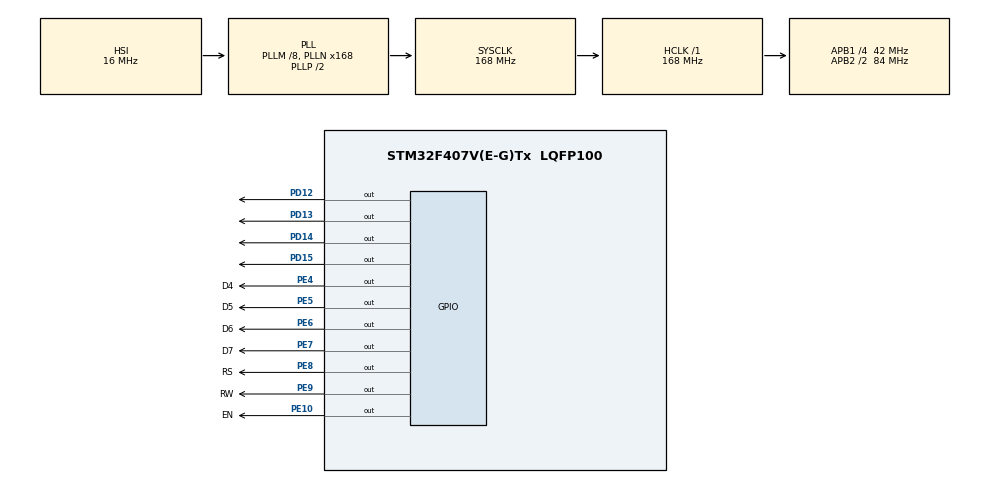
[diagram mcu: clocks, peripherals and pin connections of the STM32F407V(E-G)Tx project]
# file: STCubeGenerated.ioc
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Mcu.Family=STM32F4
Mcu.Name=STM32F407V(E-G)Tx
Mcu.Package=LQFP100
NVIC.PriorityGroup=NVIC_PRIORITYGROUP_4
PD12.Signal=GPIO_Output
PD13.Signal=GPIO_Output
PD14.Signal=GPIO_Output
PD15.Signal=GPIO_Output
PE10.GPIO_Label=EN
PE10.GPIO_ModeDefaultOutputPP=GPIO_MODE_OUTPUT_PP
PE10.GPIO_PuPd=GPIO_NOPULL
PE10.Signal=GPIO_Output
PE4.GPIO_Label=D4
PE4.GPIO_ModeDefaultOutputPP=GPIO_MODE_OUTPUT_PP
PE4.GPIO_PuPd=GPIO_NOPULL
PE4.Signal=GPIO_Output
PE5.GPIO_Label=D5
PE5.GPIO_ModeDefaultOutputPP=GPIO_MODE_OUTPUT_PP
PE5.GPIO_PuPd=GPIO_NOPULL
PE5.Signal=GPIO_Output
PE6.GPIO_Label=D6
PE6.GPIO_ModeDefaultOutputPP=GPIO_MODE_OUTPUT_PP
PE6.GPIO_PuPd=GPIO_NOPULL
PE6.Signal=GPIO_Output
PE7.GPIO_Label=D7
PE7.GPIO_ModeDefaultOutputPP=GPIO_MODE_OUTPUT_PP
PE7.GPIO_PuPd=GPIO_NOPULL
PE7.Signal=GPIO_Output
PE8.GPIO_Label=RS
PE8.GPIO_ModeDefaultOutputPP=GPIO_MODE_OUTPUT_PP
PE8.GPIO_PuPd=GPIO_NOPULL
PE8.Signal=GPIO_Output
PE9.GPIO_Label=RW
PE9.GPIO_ModeDefaultOutputPP=GPIO_MODE_OUTPUT_PP
PE9.GPIO_PuPd=GPIO_NOPULL
PE9.Signal=GPIO_Output
PH0-OSC_IN.Mode=HSE-External-Oscillator
PH0-OSC_IN.Signal=RCC_OSC_IN
PH1-OSC_OUT.Mode=HSE-External-Oscillator
PH1-OSC_OUT.Signal=RCC_OSC_OUT
ProjectManager.HeapSize=0x200
ProjectManager.StackSize=0x400
ProjectManager.TargetToolchain=MDK-ARM V5
RCC.48MHZClocksFreq_Value=84000000
RCC.AHBFreq_Value=168000000
RCC.APB1CLKDivider=RCC_HCLK_DIV4
RCC.APB1Freq_Value=42000000
RCC.APB1TimFreq_Value=84000000
RCC.APB2CLKDivider=RCC_HCLK_DIV2
RCC.APB2Freq_Value=84000000
RCC.APB2TimFreq_Value=168000000
RCC.CortexFreq_Value=168000000
RCC.HCLKFreq_Value=168000000
RCC.HSE_VALUE=8000000
RCC.HSI_VALUE=16000000
RCC.LSE_VALUE=32768
RCC.PLLM=8
RCC.PLLN=168
RCC.SYSCLKFreq_VALUE=168000000
RCC.SYSCLKSource=RCC_SYSCLKSOURCE_PLLCLK
RCC.VCOOutputFreq_Value=336000000
board=custom

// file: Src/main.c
/* USER CODE BEGIN Header */
/**
  ******************************************************************************
  * @file           : main.c
  * @brief          : Main program body
  ******************************************************************************
  * @attention
  *
  * Copyright (c) 2023 STMicroelectronics.
  * All rights reserved.
  *
  * This software is licensed under terms that can be found in the LICENSE file
  * in the root directory of this software component.
  * If no LICENSE file comes with this software, it is provided AS-IS.
  *
  ******************************************************************************
  */
/* USER CODE END Header */
#include "main.h"

/* USER CODE BEGIN Includes */
#include "lcd.h"
#include "stdio.h"

/* USER CODE END Includes */

void SystemClock_Config(void);
static void MX_GPIO_Init(void);

int main(void)
{

  /* MCU Configuration--------------------------------------------------------*/

  /* Reset of all peripherals, Initializes the Flash interface and the Systick. */
  HAL_Init();

  /* Configure the system clock */
  SystemClock_Config();

  /* Initialize all configured peripherals */
  MX_GPIO_Init();
  /* USER CODE BEGIN 2 */

	// lcd_init
	HAL_GPIO_WritePin(RW_GPIO_Port, RW_Pin, 0);
	Lcd_PortType ports[] = { D4_GPIO_Port, D5_GPIO_Port, D6_GPIO_Port, D7_GPIO_Port };
	Lcd_PinType pins[] = {D4_Pin, D5_Pin, D6_Pin, D7_Pin};
	Lcd_HandleTypeDef lcd;
	lcd = Lcd_create(ports, pins, RS_GPIO_Port, RS_Pin, EN_GPIO_Port, EN_Pin, LCD_4_BIT_MODE);

	// write something and wait 3sec
	Lcd_string(&lcd, "BANU Embedded Sys.");
	Lcd_cursor(&lcd, 1,6);
	Lcd_int(&lcd, 2023);
	HAL_Delay(3000);

  /* USER CODE END 2 */

  /* Infinite loop */
  /* USER CODE BEGIN WHILE */

	char str[16];
	int a=60;

  while (1)
  {

		HAL_GPIO_TogglePin(GPIOD, GPIO_PIN_15);
		HAL_Delay(500);

		Lcd_clear(&lcd);
		snprintf(str, 16, "xxx= %d", a);
		Lcd_string(&lcd, str);
		a=-27.;
		Lcd_cursor(&lcd, 1,0);
		snprintf(str, 16, "3x9= %d", a);
		Lcd_string(&lcd, str);

    /* USER CODE END WHILE */

  }
}

void SystemClock_Config(void)
{
  RCC_OscInitTypeDef RCC_OscInitStruct = {0};
  RCC_ClkInitTypeDef RCC_ClkInitStruct = {0};

  /** Configure the main internal regulator output voltage
  */
  __HAL_RCC_PWR_CLK_ENABLE();
  __HAL_PWR_VOLTAGESCALING_CONFIG(PWR_REGULATOR_VOLTAGE_SCALE1);

  /** Initializes the RCC Oscillators according to the specified parameters
  * in the RCC_OscInitTypeDef structure.
  */
  RCC_OscInitStruct.OscillatorType = RCC_OSCILLATORTYPE_HSI;
  RCC_OscInitStruct.HSIState = RCC_HSI_ON;
  RCC_OscInitStruct.HSICalibrationValue = RCC_HSICALIBRATION_DEFAULT;
  RCC_OscInitStruct.PLL.PLLState = RCC_PLL_ON;
  RCC_OscInitStruct.PLL.PLLSource = RCC_PLLSOURCE_HSI;
  RCC_OscInitStruct.PLL.PLLM = 8;
  RCC_OscInitStruct.PLL.PLLN = 168;
  RCC_OscInitStruct.PLL.PLLP = RCC_PLLP_DIV2;
  RCC_OscInitStruct.PLL.PLLQ = 4;
  if (HAL_RCC_OscConfig(&RCC_OscInitStruct) != HAL_OK)
  {
    Error_Handler();
  }

  /** Initializes the CPU, AHB and APB buses clocks
  */
  RCC_ClkInitStruct.ClockType = RCC_CLOCKTYPE_HCLK|RCC_CLOCKTYPE_SYSCLK
                              |RCC_CLOCKTYPE_PCLK1|RCC_CLOCKTYPE_PCLK2;
  RCC_ClkInitStruct.SYSCLKSource = RCC_SYSCLKSOURCE_PLLCLK;
  RCC_ClkInitStruct.AHBCLKDivider = RCC_SYSCLK_DIV1;
  RCC_ClkInitStruct.APB1CLKDivider = RCC_HCLK_DIV4;
  RCC_ClkInitStruct.APB2CLKDivider = RCC_HCLK_DIV2;

  if (HAL_RCC_ClockConfig(&RCC_ClkInitStruct, FLASH_LATENCY_5) != HAL_OK)
  {
    Error_Handler();
  }
}

static void MX_GPIO_Init(void)
{
  GPIO_InitTypeDef GPIO_InitStruct = {0};

  /* GPIO Ports Clock Enable */
  __HAL_RCC_GPIOE_CLK_ENABLE();
  __HAL_RCC_GPIOH_CLK_ENABLE();
  __HAL_RCC_GPIOD_CLK_ENABLE();

  /*Configure GPIO pin Output Level */
  HAL_GPIO_WritePin(GPIOE, D4_Pin|D5_Pin|D6_Pin|D7_Pin
                          |RS_Pin|RW_Pin|EN_Pin, GPIO_PIN_RESET);

  /*Configure GPIO pin Output Level */
  HAL_GPIO_WritePin(GPIOD, GPIO_PIN_12|GPIO_PIN_13|GPIO_PIN_14|GPIO_PIN_15, GPIO_PIN_RESET);

  /*Configure GPIO pins : D4_Pin D5_Pin D6_Pin D7_Pin
                           RS_Pin RW_Pin EN_Pin */
  GPIO_InitStruct.Pin = D4_Pin|D5_Pin|D6_Pin|D7_Pin
                          |RS_Pin|RW_Pin|EN_Pin;
  GPIO_InitStruct.Mode = GPIO_MODE_OUTPUT_PP;
  GPIO_InitStruct.Pull = GPIO_NOPULL;
  GPIO_InitStruct.Speed = GPIO_SPEED_FREQ_LOW;
  HAL_GPIO_Init(GPIOE, &GPIO_InitStruct);

  /*Configure GPIO pins : PD12 PD13 PD14 PD15 */
  GPIO_InitStruct.Pin = GPIO_PIN_12|GPIO_PIN_13|GPIO_PIN_14|GPIO_PIN_15;
  GPIO_InitStruct.Mode = GPIO_MODE_OUTPUT_PP;
  GPIO_InitStruct.Pull = GPIO_NOPULL;
  GPIO_InitStruct.Speed = GPIO_SPEED_FREQ_LOW;
  HAL_GPIO_Init(GPIOD, &GPIO_InitStruct);

}

void Error_Handler(void)
{
  __disable_irq();
  while (1)
  {
  }
}
